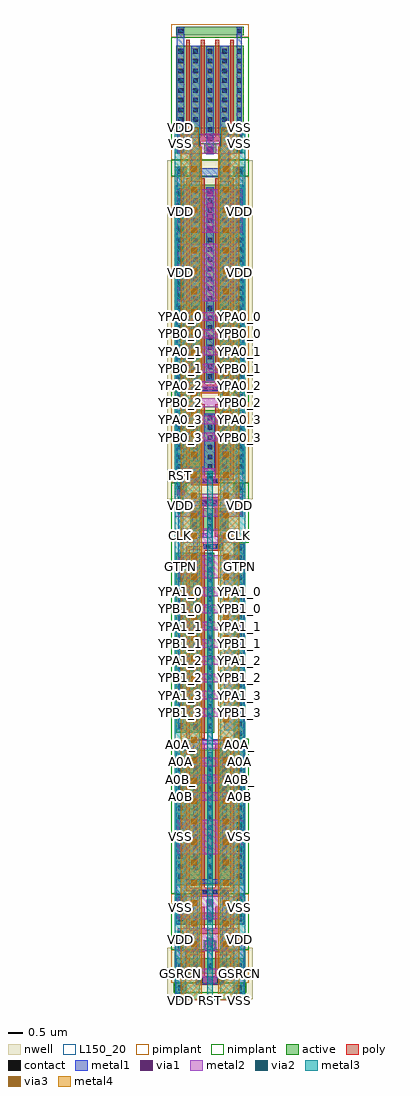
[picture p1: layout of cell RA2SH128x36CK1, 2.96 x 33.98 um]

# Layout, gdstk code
import gdstk
lib = gdstk.Library(unit=1e-6, precision=1e-09)
def R(c, l, rs):  # rectangles x0, y0, x1, y1
    for r in rs: c.add(gdstk.rectangle(r[:2], r[2:], *l))
def A(c, l, x, y, w, h, nx, ny, dx, dy):  # array of equal rectangles
    R(c, l, [(x+i*dx, y+j*dy, x+i*dx+w, y+j*dy+h) for i in range(nx) for j in range(ny)])
def P(c, l, *ps):  # polygons
    for p in ps: c.add(gdstk.Polygon(p, *l))
nwell = (3, 0)
active = (6, 0)
poly = (17, 0)
pimplant = (25, 0)
nimplant = (26, 0)
contact = (30, 0)
metal1 = (31, 0)
metal2 = (32, 0)
metal3 = (33, 0)
metal4 = (34, 0)
via1 = (51, 0)
via2 = (52, 0)
via3 = (53, 0)
L150_20 = (150, 20)

ra2sh128x36ck1 = lib.new_cell('RA2SH128x36CK1')
R(ra2sh128x36ck1, nwell, [(-0.46,17.435,2.5,29.245)])
P(ra2sh128x36ck1, nwell, [(0.57,2.315),(0.57,1.825),(-0.46,1.825),(-0.46,0.025),(2.5,0.025),(2.5,1.825),(1.47,1.825),(1.47,2.315)])
R(ra2sh128x36ck1, active, [(-0.21,0.275,0.21,0.575), (1.83,0.275,2.25,0.575), (-0.15,0.915,2.19,1.445), (0.81,1.775,1.23,2.075), (-0.15,2.625,2.19,3.035), (-0.21,3.365,0.21,3.665), (1.83,3.365,2.25,3.665), (-0.15,3.995,2.19,8.705), (1.89,9.125,2.19,15.885), (-0.15,9.305,1.17,15.575), (0.34,16.335,1.66,17.125), (-0.21,17.675,0.21,17.975), (1.83,17.675,2.25,17.975), (-0.15,18.305,2.19,20.535), (-0.21,20.865,0.21,21.165), (1.83,20.865,2.25,21.165), (-0.15,21.495,2.19,28.375), (-0.21,28.705,0.21,29.005), (1.83,28.705,2.25,29.005), (-0.21,29.485,0.21,29.785), (0.815,29.485,1.235,29.785), (1.83,29.485,2.25,29.785), (-0.15,30.115,2.19,33.225), (-0.15,33.59,2.19,33.89)])
P(ra2sh128x36ck1, poly, [(1.72,1.19),(1.72,0.83),(1.34,0.83),(1.34,1.19),(1.21,1.19),(1.21,0.83),(0.83,0.83),(0.83,1.19),(0.7,1.19),(0.7,0.83),(0.32,0.83),(0.32,1.19),(0.19,1.19),(0.19,0.7),(0.52,0.7),(0.52,0.53),(1.52,0.53),(1.52,0.7),(1.85,0.7),(1.85,1.19)],
  [(1.72,3.245),(1.72,2.445),(1.34,2.445),(1.34,3.245),(1.21,3.245),(1.21,2.445),(0.83,2.445),(0.83,3.245),(0.7,3.245),(0.7,2.445),(0.32,2.445),(0.32,3.245),(0.19,3.245),(0.19,2.315),(0.38,2.315),(0.38,1.68),(0.19,1.68),(0.19,1.19),(0.32,1.19),(0.32,1.55),(0.7,1.55),(0.7,1.19),(0.83,1.19),(0.83,1.68),(0.64,1.68),(0.64,2.315),(1.39,2.315),(1.39,1.68),(1.21,1.68),(1.21,1.19),(1.34,1.19),(1.34,1.55),(1.72,1.55),(1.72,1.19),(1.85,1.19),(1.85,1.68),(1.65,1.68),(1.65,2.315),(1.85,2.315),(1.85,3.245)],
  [(1.72,8.915),(1.72,3.915),(1.34,3.915),(1.34,8.915),(1.21,8.915),(1.21,3.915),(0.83,3.915),(0.83,8.915),(0.7,8.915),(0.7,3.915),(0.32,3.915),(0.32,8.915),(0.19,8.915),(0.19,3.785),(0.36,3.785),(0.36,3.615),(1.68,3.615),(1.68,3.785),(1.85,3.785),(1.85,8.915)],
  [(0.775,15.945),(0.775,15.805),(0.19,15.805),(0.19,9.095),(0.32,9.095),(0.32,15.675),(0.7,15.675),(0.7,9.095),(0.83,9.095),(0.83,15.645),(1.475,15.645),(1.475,15.945)],
  [(0.68,17.495),(0.68,16.125),(0.81,16.125),(0.81,17.195),(1.19,17.195),(1.19,16.125),(1.32,16.125),(1.32,17.495)],
  [(1.72,20.745),(1.72,18.225),(1.34,18.225),(1.34,20.745),(1.21,20.745),(1.21,18.225),(0.83,18.225),(0.83,20.745),(0.7,20.745),(0.7,18.225),(0.32,18.225),(0.32,20.745),(0.19,20.745),(0.19,18.095),(0.36,18.095),(0.36,17.925),(1.34,17.925),(1.34,18.095),(1.85,18.095),(1.85,20.745)],
  [(1.72,24.955),(1.72,21.425),(1.34,21.425),(1.34,24.955),(1.21,24.955),(1.21,21.425),(0.83,21.425),(0.83,24.955),(0.7,24.955),(0.7,21.425),(0.32,21.425),(0.32,24.955),(0.19,24.955),(0.19,21.27),(0.36,21.27),(0.36,21.125),(1.68,21.125),(1.68,21.27),(1.85,21.27),(1.85,24.955)],
  [(1.72,33.435),(1.72,30.035),(1.34,30.035),(1.34,33.435),(1.21,33.435),(1.21,30.035),(0.83,30.035),(0.83,33.435),(0.7,33.435),(0.7,30.035),(0.32,30.035),(0.32,33.435),(0.19,33.435),(0.19,29.905),(0.32,29.905),(0.32,28.615),(0.19,28.615),(0.19,24.955),(0.32,24.955),(0.32,28.485),(0.7,28.485),(0.7,24.955),(0.83,24.955),(0.83,28.615),(0.7,28.615),(0.7,29.905),(1.34,29.905),(1.34,28.615),(1.21,28.615),(1.21,24.955),(1.34,24.955),(1.34,28.485),(1.72,28.485),(1.72,24.955),(1.85,24.955),(1.85,28.615),(1.72,28.615),(1.72,29.905),(1.85,29.905),(1.85,33.435)])
R(ra2sh128x36ck1, pimplant, [(-0.33,0.605,2.37,1.745), (-0.33,3.335,0.37,3.695), (1.67,3.335,2.37,3.695), (1.86,9.095,2.22,15.915), (-0.33,29.255,2.37,29.815), (-0.33,33.525,2.37,33.98)])
P(ra2sh128x36ck1, pimplant, [(-0.33,28.675),(-0.33,21.195),(0.37,21.195),(0.37,20.835),(-0.33,20.835),(-0.33,18.005),(2.37,18.005),(2.37,20.835),(1.67,20.835),(1.67,21.195),(2.37,21.195),(2.37,28.675)])
R(ra2sh128x36ck1, nimplant, [(-0.24,0.245,2.28,0.605), (-0.33,20.835,0.37,21.195), (1.67,20.835,2.37,21.195), (-0.33,28.675,2.37,29.255), (-0.33,29.815,2.37,33.525)])
P(ra2sh128x36ck1, nimplant, [(-0.33,18.005),(-0.33,3.695),(0.37,3.695),(0.37,3.335),(-0.33,3.335),(-0.33,1.745),(2.37,1.745),(2.37,3.335),(1.67,3.335),(1.67,3.695),(2.37,3.695),(2.37,9.095),(1.86,9.095),(1.86,15.915),(2.37,15.915),(2.37,18.005)])
A(ra2sh128x36ck1, contact, 0.6, 0.6, 0.16, 0.16, 3, 1, 0.34, 0)
A(ra2sh128x36ck1, contact, -0.08, 1.1, 0.16, 0.16, 3, 2, 1.02, 3.13)
A(ra2sh128x36ck1, contact, -0.08, 2.75, 0.16, 0.16, 5, 2, 0.51, 16.08)
A(ra2sh128x36ck1, contact, 0.43, 3.685, 0.16, 0.16, 4, 2, 0.34, 17.51)
A(ra2sh128x36ck1, contact, 0.43, 4.565, 0.16, 0.16, 1, 12, 0, 0.34)
A(ra2sh128x36ck1, contact, 1.45, 4.565, 0.16, 0.16, 1, 12, 0, 0.34)
A(ra2sh128x36ck1, contact, -0.08, 4.57, 0.16, 0.16, 3, 12, 1.02, 0.34)
A(ra2sh128x36ck1, contact, 1.96, 9.195, 0.16, 0.16, 1, 20, 0, 0.34)
A(ra2sh128x36ck1, contact, 0.94, 9.46, 0.16, 0.16, 1, 18, 0, 0.34)
A(ra2sh128x36ck1, contact, 0.43, 9.465, 0.16, 0.16, 1, 18, 0, 0.34)
A(ra2sh128x36ck1, contact, -0.08, 9.47, 0.16, 0.16, 1, 18, 0, 0.34)
A(ra2sh128x36ck1, contact, 0.43, 17.995, 0.16, 0.16, 3, 1, 0.34, 0)
A(ra2sh128x36ck1, contact, 0.94, 18.49, 0.16, 0.16, 3, 1, 0.51, 0)
A(ra2sh128x36ck1, contact, -0.08, 19.17, 0.16, 0.16, 5, 4, 0.51, 0.34)
A(ra2sh128x36ck1, contact, -0.08, 21.625, 0.16, 0.16, 5, 20, 0.51, 0.34)
A(ra2sh128x36ck1, contact, -0.08, 29.555, 0.16, 0.16, 3, 1, 1.02, 0)
A(ra2sh128x36ck1, contact, -0.08, 30.23, 0.16, 0.16, 5, 9, 0.51, 0.34)
R(ra2sh128x36ck1, contact, [(-0.08,0.345,0.08,0.505), (1.96,0.345,2.12,0.505), (0.43,1.165,0.59,1.325), (1.45,1.165,1.61,1.325), (0.94,1.845,1.1,2.005), (-0.08,3.435,0.08,3.595), (1.96,3.435,2.12,3.595), (0.875,15.715,1.035,15.875), (1.215,15.715,1.375,15.875), (0.92,16.405,1.08,16.565), (0.41,16.48,0.57,16.64), (1.43,16.48,1.59,16.64), (0.92,16.745,1.08,16.905), (0.41,16.82,0.57,16.98), (1.43,16.82,1.59,16.98), (0.75,17.265,0.91,17.425), (1.09,17.265,1.25,17.425), (-0.08,17.745,0.08,17.905), (1.96,17.745,2.12,17.905), (-0.08,18.49,0.08,18.65), (-0.08,20.935,0.08,21.095), (1.96,20.935,2.12,21.095), (-0.08,28.775,0.08,28.935), (1.96,28.775,2.12,28.935), (-0.08,33.66,0.08,33.82), (1.96,33.66,2.12,33.82)])
R(ra2sh128x36ck1, metal1, [(-0.18,0.225,0.18,2.2), (0.54,0.55,1.5,0.81), (1.91,16.82,2.17,28.985), (0.89,21.575,1.15,28.295), (0.89,29.45,1.15,33.205), (-0.13,29.455,0.13,33.87)])
P(ra2sh128x36ck1, metal1, [(0.915,2.16),(0.915,2.055),(0.84,2.055),(0.84,1.725),(0.94,1.725),(0.94,1.05),(1.1,1.05),(1.1,1.725),(1.2,1.725),(1.2,2.055),(1.125,2.055),(1.125,2.16)],
  [(1.855,2.2),(1.855,0.225),(2.22,0.225),(2.22,0.555),(2.215,0.555),(2.215,2.2)],
  [(0.915,3.505),(0.915,2.805),(0.94,2.805),(0.94,2.7),(1.1,2.7),(1.1,2.805),(1.125,2.805),(1.125,3.505)],
  [(0.38,3.845),(0.38,3.685),(0.43,3.685),(0.43,1.115),(0.59,1.115),(0.59,3.685),(1.45,3.685),(1.45,1.115),(1.61,1.115),(1.61,3.685),(1.66,3.685),(1.66,3.845)],
  [(0.94,15.535),(0.94,9.07),(0.43,9.07),(0.43,4.515),(0.59,4.515),(0.59,8.91),(1.45,8.91),(1.45,4.515),(1.61,4.515),(1.61,9.07),(1.1,9.07),(1.1,15.535)],
  [(1.855,15.865),(1.855,15.43),(1.51,15.43),(1.51,9.4),(1.855,9.4),(1.855,4.2),(1.1,4.2),(1.1,8.63),(0.94,8.63),(0.94,4.2),(0.16,4.2),(0.16,9.03),(-0.16,9.03),(-0.16,2.64),(0.16,2.64),(0.16,4.04),(1.855,4.04),(1.855,2.645),(2.215,2.645),(2.215,15.865)],
  [(1.295,16.205),(1.295,15.875),(0.795,15.875),(0.795,15.715),(1.455,15.715),(1.455,15.915),(1.505,15.915),(1.505,16.205)],
  [(0.92,16.955),(0.92,16.245),(0.43,16.245),(0.43,9.415),(0.59,9.415),(0.59,16.085),(1.08,16.085),(1.08,16.955)],
  [(0.345,17.03),(0.345,16.82),(0.41,16.82),(0.41,16.43),(0.57,16.43),(0.57,16.82),(0.635,16.82),(0.635,17.03)],
  [(1.365,17.03),(1.365,16.82),(1.43,16.82),(1.43,16.43),(1.59,16.43),(1.59,16.82),(1.655,16.82),(1.655,17.03)],
  [(0.38,18.22),(0.38,17.995),(1.32,17.995),(1.32,18.155),(0.67,18.155),(0.67,18.22)],
  [(0.38,21.355),(0.38,21.195),(0.43,21.195),(0.43,18.76),(0.59,18.76),(0.59,21.195),(1.45,21.195),(1.45,18.44),(1.5,18.44),(1.5,17.425),(0.7,17.425),(0.7,17.37),(-0.08,17.37),(-0.08,15.44),(-0.105,15.44),(-0.105,14.74),(-0.08,14.74),(-0.08,9.42),(0.08,9.42),(0.08,14.74),(0.105,14.74),(0.105,15.44),(0.08,15.44),(0.08,17.21),(1.66,17.21),(1.66,18.6),(1.61,18.6),(1.61,21.195),(1.66,21.195),(1.66,21.355)],
  [(-0.13,28.985),(-0.13,17.76),(-0.145,17.76),(-0.145,17.55),(0.145,17.55),(0.145,17.76),(0.13,17.76),(0.13,18.4),(1.185,18.4),(1.185,20.41),(0.825,20.41),(0.825,18.56),(0.13,18.56),(0.13,28.985)],
  [(1.38,33.225),(1.38,28.95),(0.66,28.95),(0.66,33.225),(0.36,33.225),(0.36,21.575),(0.66,21.575),(0.66,28.65),(1.38,28.65),(1.38,21.575),(1.68,21.575),(1.68,33.225)],
  [(1.96,33.87),(1.96,30.155),(1.935,30.155),(1.935,29.455),(2.145,29.455),(2.145,30.155),(2.12,30.155),(2.12,33.87)])
A(ra2sh128x36ck1, metal2, 0, 6.94, 2.04, 0.3, 1, 4, 0, 0.6)
A(ra2sh128x36ck1, metal2, 0, 9.865, 2.04, 0.3, 1, 8, 0, 0.6)
A(ra2sh128x36ck1, metal2, 0, 19.445, 2.04, 0.3, 1, 8, 0, 0.6)
R(ra2sh128x36ck1, metal2, [(-0.1,2.805,2.14,3.605), (-0.1,5.075,2.14,6.275), (0,15.915,2.04,16.415), (0,18.01,1.2,18.51), (-0.1,24.33,2.04,26.33), (-0.115,26.705,2.14,28.225), (-0.1,29.455,2.14,30.155)])
P(ra2sh128x36ck1, metal2, [(0,1.08),(0,0.78),(0.875,0.78),(0.875,0.58),(1.165,0.58),(1.165,0.78),(2.04,0.78),(2.04,1.08)],
  [(-0.1,2.505),(-0.1,1.705),(2.04,1.705),(2.04,1.87),(2.14,1.87),(2.14,2.16),(2.04,2.16),(2.04,2.505)],
  [(0,15.49),(0,15.44),(-0.1,15.44),(-0.1,14.74),(0,14.74),(0,14.69),(2.04,14.69),(2.04,15.49)],
  [(-0.145,17.755),(-0.145,17.625),(-0.205,17.625),(-0.205,16.825),(1.94,16.825),(1.94,16.82),(2.14,16.82),(2.14,17.62),(2.04,17.62),(2.04,17.625),(0.145,17.625),(0.145,17.755)])
R(ra2sh128x36ck1, metal3, [(-0.2,0,0.67,30.37), (0.92,0,1.12,18.405), (1.37,0,2.24,30.37)])
P(ra2sh128x36ck1, metal4, [(0,30.37),(0,0),(0.735,0),(0.735,29.705),(0.63,29.705),(0.63,30.37)],
  [(1.41,30.37),(1.41,29.705),(1.305,29.705),(1.305,0),(2.04,0),(2.04,30.37)])
A(ra2sh128x36ck1, via1, -0.095, 1.92, 0.19, 0.19, 3, 2, 1.02, 24.835)
A(ra2sh128x36ck1, via1, -0.095, 5.17, 0.19, 0.19, 1, 3, 0, 0.41)
A(ra2sh128x36ck1, via1, 1.945, 5.17, 0.19, 0.19, 1, 3, 0, 0.41)
A(ra2sh128x36ck1, via1, -0.095, 24.415, 0.19, 0.19, 1, 5, 0, 0.41)
A(ra2sh128x36ck1, via1, -0.095, 27.165, 0.19, 0.19, 3, 3, 1.02, 0.41)
A(ra2sh128x36ck1, via1, -0.095, 29.505, 0.19, 0.19, 3, 2, 1.02, 0.41)
R(ra2sh128x36ck1, via1, [(0.925,0.585,1.115,0.775), (0.925,2.855,1.115,3.045), (-0.095,2.905,0.095,3.095), (1.945,2.905,2.135,3.095), (0.925,3.265,1.115,3.455), (-0.095,3.315,0.095,3.505), (1.945,3.315,2.135,3.505), (-0.095,14.79,0.095,14.98), (-0.095,15.2,0.095,15.39), (1.305,15.965,1.495,16.155), (0.395,16.83,0.585,17.02), (1.415,16.83,1.605,17.02), (1.945,16.92,2.135,17.11), (1.945,17.33,2.135,17.52), (-0.095,17.56,0.095,17.75), (0.43,18.02,0.62,18.21)])
A(ra2sh128x36ck1, via2, 1.945, 5.17, 0.19, 0.19, 1, 3, 0, 0.41)
A(ra2sh128x36ck1, via2, -0.095, 24.415, 0.19, 0.19, 1, 5, 0, 0.41)
A(ra2sh128x36ck1, via2, -0.095, 26.755, 0.19, 0.19, 1, 4, 0, 0.41)
R(ra2sh128x36ck1, via2, [(-0.095,1.805,0.095,1.995), (-0.095,2.215,0.095,2.405), (1.945,2.905,2.135,3.095), (1.945,3.315,2.135,3.505), (-0.095,16.925,0.095,17.115), (-0.095,17.335,0.095,17.525), (0.925,18.165,1.115,18.355), (1.945,29.505,2.135,29.695), (1.945,29.915,2.135,30.105)])
A(ra2sh128x36ck1, via3, 0.37, 1.855, 0.19, 0.19, 1, 39, 0, 0.71)
A(ra2sh128x36ck1, via3, 1.48, 1.855, 0.19, 0.19, 1, 39, 0, 0.71)
R(ra2sh128x36ck1, L150_20, [(0,0,2.04,30.37)])
ra2sh128x36ck1.add(gdstk.Label('CLK', (0,16.165), layer=132, texttype=0))
ra2sh128x36ck1.add(gdstk.Label('VDD', (0,25.33), layer=132, texttype=0))
ra2sh128x36ck1.add(gdstk.Label('RST', (0,18.26), layer=132, texttype=0))
ra2sh128x36ck1.add(gdstk.Label('VDD', (0,2.105), layer=132, texttype=0))
ra2sh128x36ck1.add(gdstk.Label('VDD', (0,0), layer=133, texttype=0))
ra2sh128x36ck1.add(gdstk.Label('VSS', (0,29.805), layer=132, texttype=0))
ra2sh128x36ck1.add(gdstk.Label('YPB1_0', (0,13.615), layer=132, texttype=0))
ra2sh128x36ck1.add(gdstk.Label('VSS', (0,3.205), layer=132, texttype=0))
ra2sh128x36ck1.add(gdstk.Label('YPB1_1', (0,12.415), layer=132, texttype=0))
ra2sh128x36ck1.add(gdstk.Label('YPA0_0', (0,23.795), layer=132, texttype=0))
ra2sh128x36ck1.add(gdstk.Label('YPA1_3', (0,10.615), layer=132, texttype=0))
ra2sh128x36ck1.add(gdstk.Label('YPB0_0', (0,23.195), layer=132, texttype=0))
ra2sh128x36ck1.add(gdstk.Label('YPA1_0', (0,14.215), layer=132, texttype=0))
ra2sh128x36ck1.add(gdstk.Label('YPA0_1', (0,22.595), layer=132, texttype=0))
ra2sh128x36ck1.add(gdstk.Label('VDD', (0,27.465), layer=132, texttype=0))
ra2sh128x36ck1.add(gdstk.Label('YPB0_1', (0,21.995), layer=132, texttype=0))
ra2sh128x36ck1.add(gdstk.Label('GSRCN', (0,0.93), layer=132, texttype=0))
ra2sh128x36ck1.add(gdstk.Label('YPA0_2', (0,21.395), layer=132, texttype=0))
ra2sh128x36ck1.add(gdstk.Label('GTPN', (0,15.09), layer=132, texttype=0))
ra2sh128x36ck1.add(gdstk.Label('YPB0_2', (0,20.795), layer=132, texttype=0))
ra2sh128x36ck1.add(gdstk.Label('YPA1_2', (0,11.815), layer=132, texttype=0))
ra2sh128x36ck1.add(gdstk.Label('YPA0_3', (0,20.195), layer=132, texttype=0))
ra2sh128x36ck1.add(gdstk.Label('VDD', (0,17.225), layer=132, texttype=0))
ra2sh128x36ck1.add(gdstk.Label('YPB0_3', (0,19.595), layer=132, texttype=0))
ra2sh128x36ck1.add(gdstk.Label('VDD', (0,30.37), layer=133, texttype=0))
ra2sh128x36ck1.add(gdstk.Label('A0B', (0,7.09), layer=132, texttype=0))
ra2sh128x36ck1.add(gdstk.Label('YPB1_2', (0,11.215), layer=132, texttype=0))
ra2sh128x36ck1.add(gdstk.Label('VSS', (0,5.675), layer=132, texttype=0))
ra2sh128x36ck1.add(gdstk.Label('YPA1_1', (0,13.015), layer=132, texttype=0))
ra2sh128x36ck1.add(gdstk.Label('A0B_', (0,7.69), layer=132, texttype=0))
ra2sh128x36ck1.add(gdstk.Label('A0A', (0,8.29), layer=132, texttype=0))
ra2sh128x36ck1.add(gdstk.Label('YPB1_3', (0,10.015), layer=132, texttype=0))
ra2sh128x36ck1.add(gdstk.Label('A0A_', (0,8.89), layer=132, texttype=0))
ra2sh128x36ck1.add(gdstk.Label('CLK', (2.04,16.165), layer=132, texttype=0))
ra2sh128x36ck1.add(gdstk.Label('VDD', (2.04,2.105), layer=132, texttype=0))
ra2sh128x36ck1.add(gdstk.Label('VSS', (2.04,30.37), layer=133, texttype=0))
ra2sh128x36ck1.add(gdstk.Label('VSS', (2.04,29.805), layer=132, texttype=0))
ra2sh128x36ck1.add(gdstk.Label('GTPN', (2.04,15.09), layer=132, texttype=0))
ra2sh128x36ck1.add(gdstk.Label('VSS', (2.04,3.205), layer=132, texttype=0))
ra2sh128x36ck1.add(gdstk.Label('YPA1_1', (2.04,13.015), layer=132, texttype=0))
ra2sh128x36ck1.add(gdstk.Label('YPA0_0', (2.04,23.795), layer=132, texttype=0))
ra2sh128x36ck1.add(gdstk.Label('YPA1_2', (2.04,11.815), layer=132, texttype=0))
ra2sh128x36ck1.add(gdstk.Label('YPB0_0', (2.04,23.195), layer=132, texttype=0))
ra2sh128x36ck1.add(gdstk.Label('YPB1_2', (2.04,11.215), layer=132, texttype=0))
ra2sh128x36ck1.add(gdstk.Label('YPA0_1', (2.04,22.595), layer=132, texttype=0))
ra2sh128x36ck1.add(gdstk.Label('VDD', (2.04,17.225), layer=132, texttype=0))
ra2sh128x36ck1.add(gdstk.Label('YPB0_1', (2.04,21.995), layer=132, texttype=0))
ra2sh128x36ck1.add(gdstk.Label('VSS', (2.04,5.675), layer=132, texttype=0))
ra2sh128x36ck1.add(gdstk.Label('YPA0_2', (2.04,21.395), layer=132, texttype=0))
ra2sh128x36ck1.add(gdstk.Label('GSRCN', (2.04,0.93), layer=132, texttype=0))
ra2sh128x36ck1.add(gdstk.Label('YPB0_2', (2.04,20.795), layer=132, texttype=0))
ra2sh128x36ck1.add(gdstk.Label('YPB1_0', (2.04,13.615), layer=132, texttype=0))
ra2sh128x36ck1.add(gdstk.Label('YPA0_3', (2.04,20.195), layer=132, texttype=0))
ra2sh128x36ck1.add(gdstk.Label('YPA1_3', (2.04,10.615), layer=132, texttype=0))
ra2sh128x36ck1.add(gdstk.Label('YPB0_3', (2.04,19.595), layer=132, texttype=0))
ra2sh128x36ck1.add(gdstk.Label('VDD', (2.04,27.465), layer=132, texttype=0))
ra2sh128x36ck1.add(gdstk.Label('A0B', (2.04,7.09), layer=132, texttype=0))
ra2sh128x36ck1.add(gdstk.Label('VSS', (2.04,0), layer=133, texttype=0))
ra2sh128x36ck1.add(gdstk.Label('A0B_', (2.04,7.69), layer=132, texttype=0))
ra2sh128x36ck1.add(gdstk.Label('YPA1_0', (2.04,14.215), layer=132, texttype=0))
ra2sh128x36ck1.add(gdstk.Label('VDD', (2.04,25.33), layer=132, texttype=0))
ra2sh128x36ck1.add(gdstk.Label('YPB1_1', (2.04,12.415), layer=132, texttype=0))
ra2sh128x36ck1.add(gdstk.Label('A0A', (2.04,8.29), layer=132, texttype=0))
ra2sh128x36ck1.add(gdstk.Label('YPB1_3', (2.04,10.015), layer=132, texttype=0))
ra2sh128x36ck1.add(gdstk.Label('A0A_', (2.04,8.89), layer=132, texttype=0))
ra2sh128x36ck1.add(gdstk.Label('VDD', (0,0), layer=133, texttype=0))
ra2sh128x36ck1.add(gdstk.Label('VDD', (0.315,0), layer=134, texttype=0))
ra2sh128x36ck1.add(gdstk.Label('VSS', (2.04,0), layer=133, texttype=0))
ra2sh128x36ck1.add(gdstk.Label('VSS', (1.725,0), layer=134, texttype=0))
ra2sh128x36ck1.add(gdstk.Label('RST', (1.02,0), layer=133, texttype=0))
ra2sh128x36ck1.add(gdstk.Label('VDD', (0,30.37), layer=133, texttype=0))
ra2sh128x36ck1.add(gdstk.Label('GTP', (0.51,30.37), layer=131, texttype=0))
ra2sh128x36ck1.add(gdstk.Label('VSS', (2.04,30.37), layer=133, texttype=0))
ra2sh128x36ck1.add(gdstk.Label('VDD', (0.315,30.37), layer=134, texttype=0))
ra2sh128x36ck1.add(gdstk.Label('VSS', (1.725,30.37), layer=134, texttype=0))

lib.write_gds('RA2SH128x36CK1.gds')
